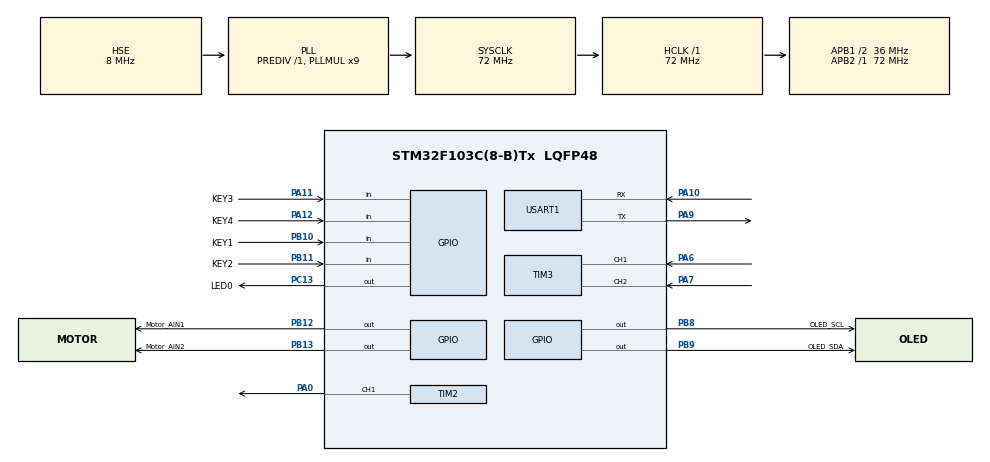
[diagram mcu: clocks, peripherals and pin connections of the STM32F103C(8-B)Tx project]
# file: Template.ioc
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Dma.Request0=USART1_RX
Dma.Request1=USART1_TX
Dma.USART1_RX.0.Direction=DMA_PERIPH_TO_MEMORY
Dma.USART1_RX.0.Instance=DMA1_Channel5
Dma.USART1_RX.0.MemDataAlignment=DMA_MDATAALIGN_BYTE
Dma.USART1_RX.0.MemInc=DMA_MINC_ENABLE
Dma.USART1_RX.0.Mode=DMA_NORMAL
Dma.USART1_RX.0.PeriphDataAlignment=DMA_PDATAALIGN_BYTE
Dma.USART1_RX.0.PeriphInc=DMA_PINC_DISABLE
Dma.USART1_RX.0.Priority=DMA_PRIORITY_LOW
Dma.USART1_TX.1.Direction=DMA_MEMORY_TO_PERIPH
Dma.USART1_TX.1.Instance=DMA1_Channel4
Dma.USART1_TX.1.MemDataAlignment=DMA_MDATAALIGN_BYTE
Dma.USART1_TX.1.MemInc=DMA_MINC_ENABLE
Dma.USART1_TX.1.Mode=DMA_NORMAL
Dma.USART1_TX.1.PeriphDataAlignment=DMA_PDATAALIGN_BYTE
Dma.USART1_TX.1.PeriphInc=DMA_PINC_DISABLE
Dma.USART1_TX.1.Priority=DMA_PRIORITY_LOW
Mcu.Family=STM32F1
Mcu.Name=STM32F103C(8-B)Tx
Mcu.Package=LQFP48
NVIC.DMA1_Channel4_IRQn=true\:0\:0\:false\:false\:true\:false\:true\:true
NVIC.DMA1_Channel5_IRQn=true\:0\:0\:false\:false\:true\:false\:true\:true
NVIC.PriorityGroup=NVIC_PRIORITYGROUP_2
NVIC.USART1_IRQn=true\:0\:0\:false\:false\:true\:true\:true\:true
PA0-WKUP.Signal=S_TIM2_CH1_ETR
PA10.Mode=Asynchronous
PA10.Signal=USART1_RX
PA11.GPIO_Label=KEY3
PA11.GPIO_PuPd=GPIO_PULLUP
PA11.Signal=GPIO_Input
PA12.GPIO_Label=KEY4
PA12.GPIO_PuPd=GPIO_PULLUP
PA12.Signal=GPIO_Input
PA13.Mode=Serial_Wire
PA13.Signal=SYS_JTMS-SWDIO
PA14.Mode=Serial_Wire
PA14.Signal=SYS_JTCK-SWCLK
PA6.Signal=S_TIM3_CH1
PA7.Signal=S_TIM3_CH2
PA9.Mode=Asynchronous
PA9.Signal=USART1_TX
PB10.GPIO_Label=KEY1
PB10.GPIO_PuPd=GPIO_PULLUP
PB10.Signal=GPIO_Input
PB11.GPIO_Label=KEY2
PB11.GPIO_PuPd=GPIO_PULLUP
PB11.Signal=GPIO_Input
PB12.GPIO_Label=Motor_AIN1
PB12.Signal=GPIO_Output
PB13.GPIO_Label=Motor_AIN2
PB13.Signal=GPIO_Output
PB8.GPIO_Label=OLED_SCL
PB8.GPIO_Speed=GPIO_SPEED_FREQ_HIGH
PB8.Signal=GPIO_Output
PB9.GPIO_Label=OLED_SDA
PB9.GPIO_Speed=GPIO_SPEED_FREQ_HIGH
PB9.PinState=GPIO_PIN_RESET
PB9.Signal=GPIO_Output
PC13-TAMPER-RTC.GPIO_Label=LED0
PC13-TAMPER-RTC.Signal=GPIO_Output
PC14-OSC32_IN.Mode=LSE-External-Oscillator
PC14-OSC32_IN.Signal=RCC_OSC32_IN
PC15-OSC32_OUT.Mode=LSE-External-Oscillator
PC15-OSC32_OUT.Signal=RCC_OSC32_OUT
PD0-OSC_IN.Mode=HSE-External-Oscillator
PD0-OSC_IN.Signal=RCC_OSC_IN
PD1-OSC_OUT.Mode=HSE-External-Oscillator
PD1-OSC_OUT.Signal=RCC_OSC_OUT
ProjectManager.HeapSize=0x200
ProjectManager.StackSize=0x400
ProjectManager.TargetToolchain=MDK-ARM V5.32
RCC.AHBFreq_Value=72000000
RCC.APB1CLKDivider=RCC_HCLK_DIV2
RCC.APB1Freq_Value=36000000
RCC.APB1TimFreq_Value=72000000
RCC.APB2Freq_Value=72000000
RCC.APB2TimFreq_Value=72000000
RCC.HCLKFreq_Value=72000000
RCC.PLLMUL=RCC_PLL_MUL9
RCC.PLLSourceVirtual=RCC_PLLSOURCE_HSE
RCC.SYSCLKFreq_VALUE=72000000
RCC.SYSCLKSource=RCC_SYSCLKSOURCE_PLLCLK
RCC.USBFreq_Value=72000000
SH.S_TIM2_CH1_ETR.0=TIM2_CH1,PWM Generation1 CH1
SH.S_TIM3_CH1.0=TIM3_CH1,Encoder_Interface
SH.S_TIM3_CH2.0=TIM3_CH2,Encoder_Interface
TIM2.AutoReloadPreload=TIM_AUTORELOAD_PRELOAD_ENABLE
TIM2.Channel-PWM\ Generation1\ CH1=TIM_CHANNEL_1
TIM2.Period=100-1
TIM2.Prescaler=36-1
TIM3.EncoderMode=TIM_ENCODERMODE_TI12
TIM3.IC1Filter=0xF
TIM3.IC2Filter=0xF
TIM3.IC2Polarity=TIM_ICPOLARITY_FALLING
USART1.VirtualMode=VM_ASYNC
board=custom

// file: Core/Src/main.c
/* USER CODE BEGIN Header */
/**
  ******************************************************************************
  * @file           : main.c
  * @brief          : Main program body
  ******************************************************************************
  * @attention
  *
  * Copyright (c) 2025 STMicroelectronics.
  * All rights reserved.
  *
  * This software is licensed under terms that can be found in the LICENSE file
  * in the root directory of this software component.
  * If no LICENSE file comes with this software, it is provided AS-IS.
  *
  ******************************************************************************
  */
/* USER CODE END Header */
#include "main.h"
#include "dma.h"
#include "tim.h"
#include "usart.h"
#include "gpio.h"

void SystemClock_Config(void);

/* USER CODE BEGIN 0 */
// *******************库/函数导入*******************
// 系统库
#include <stdlib.h>
#include "string.h"
#include <stdio.h>
// 自设库
#include "OLED.h"
#include "Key.h"

// 江协PID额外需要的库
#include "Motor.h"
#include "Encoder.h"
#include "Serial.h"
#include "PID.h"
// *******************全局变量*******************
// 串口数据包
extern Serial_HEX_Data_Typedef   Serial_Hex_Data ;			// 解析好的HEX数据包
extern Serial_ABC_Data_Typedef   Serial_ABC_Data ;			// 解析好的ABC数据包

// PID相关代码
// 我的理解:setSpeed是设定的PWM值,这在PID调控中是幕后控制者,受到输出限幅,不会超过TIM的ARR值
// 而realSpeed是单位时间的脉冲数(在该份代码),所以并不是PWM,但是与PWM有很复杂的关系,所以只能通过PID调控
// goalSpeed是接口,使用者可以调节,其代表期待的单位时间的脉冲数

Pid_Typedef PID_p ;
int goalSpeed = 50 ;				// 目标速度
int setSpeed  ;		// 设定速度
int realSpeed ;				// 实际速度
float Kp = 0.30 ;		// 先设置Kp,等到波形在tar出现突变时没有出现set波形振动的临界值开始调节Ki
float Ki = 0.20 ;		// 结合Kp,使得set与tar越接近越好
float Kd = 0.00 ;			// 如果出现不正常超调曲线(趋势不正确):过冲,才开始调节Kd

// *******************实验区域*******************
int check1 ;
int check2 = 160 ;
int check[50] ;
extern float C ;

/* USER CODE END 0 */

int main(void)
{

  /* MCU Configuration--------------------------------------------------------*/

  /* Reset of all peripherals, Initializes the Flash interface and the Systick. */
  HAL_Init();

  /* Configure the system clock */
  SystemClock_Config();

  /* Initialize all configured peripherals */
  MX_GPIO_Init();
  MX_DMA_Init();
  MX_TIM2_Init();
  MX_TIM3_Init();
  MX_USART1_UART_Init();
  /* USER CODE BEGIN 2 */

	// ******************* setup *******************
	// 启动Systick时钟
	HAL_SYSTICK_Config(SystemCoreClock / 1000);
	// 初始化OLED
	OLED_Init() ;
	// 电机初始化
	Motor_Init() ;
	// 编码器初始化
	Encoder_Init() ;
	// 串口初始化
	Serial_Init(&Serial_huart) ;
	// PID_s初始化
	PID_Init(&PID_p , Kp , Ki , Kd , goalSpeed) ;
	// ******************* 实验区域 *******************

  /* USER CODE END 2 */

  /* Infinite loop */
  while (1)
  {

    /* USER CODE BEGIN 3 */
		// ******************* while *******************
		OLED_Clear() ;
		// 测试按键功能
		if (Key_Check(KEY_1 , KEY_SINGLE))
		{
			check1++ ;
		}
		else if (Key_Check(KEY_2 , KEY_SINGLE))
		{
			goalSpeed = 160 ;
		}
		else if (Key_Check(KEY_3 , KEY_SINGLE))
		{
			goalSpeed = 0 ;
		}
		// 串口功能
		if (Serial_GetNewPackageFlag_ABC() == 1)
		{
			// 文本包调试程序
//			Serial_SetIntData("PWM" , "PWM=%d" , &setSpeed) ;
//			Serial_SetIntData("checkb" , "checkb=%d" , &check2) ;
			Serial_SetFloatData("Kp" , "Kp=%f" , &Kp) ;
			Serial_SetFloatData("Ki" , "Ki=%f" , &Ki) ;
			Serial_SetFloatData("Kd" , "Kd=%f" , &Kd) ;
			Serial_SetIntData("goalSpeed" , "goalSpeed=%d" , &goalSpeed) ;
			Serial_SetIntData("checkb" , "checkb=%d" , &check2) ;
		}

		// ******************* 实验区域 *******************
		OLED_Printf(0 ,0  , OLED_8X16 , "P:%.2f" , Kp) ;
		OLED_Printf(0 ,20 , OLED_8X16 , "I:%.2f" , Ki) ;
		OLED_Printf(0 ,40 , OLED_8X16 , "D:%.2f" , Kd) ;

		OLED_Printf(50 ,0  , OLED_8X16 , "Tar:%+03d" , goalSpeed) ;
		OLED_Printf(50 ,20 , OLED_8X16 , "Act:%+03d" , realSpeed) ;
		OLED_Printf(50 ,40 , OLED_8X16 , "Out:%+03d" , setSpeed ) ;

		PID_Set(&PID_p , Kp , Ki , Kd , goalSpeed) ;

		// 调节PWM
		if (check1 % 2 == 0)
		{
			Motor_SetPWM(setSpeed) ;
		}
		else
		{
		  Motor_SetPWM(goalSpeed) ;
		}

		// 发送数据
		Set_Current_USART(USART1_IDX) ;
		printf("%d,%d,%d,%d,%d,%d,%f\n",setSpeed,goalSpeed,realSpeed,check[0]*10,check[1]*10,check[2]*10,C*100) ;

		// 必须存在:OLED更新
		OLED_Update() ;
  }
  /* USER CODE END 3 */
}

void SystemClock_Config(void)
{
  RCC_OscInitTypeDef RCC_OscInitStruct = {0};
  RCC_ClkInitTypeDef RCC_ClkInitStruct = {0};

  /** Initializes the RCC Oscillators according to the specified parameters
  * in the RCC_OscInitTypeDef structure.
  */
  RCC_OscInitStruct.OscillatorType = RCC_OSCILLATORTYPE_HSE;
  RCC_OscInitStruct.HSEState = RCC_HSE_ON;
  RCC_OscInitStruct.HSEPredivValue = RCC_HSE_PREDIV_DIV1;
  RCC_OscInitStruct.HSIState = RCC_HSI_ON;
  RCC_OscInitStruct.PLL.PLLState = RCC_PLL_ON;
  RCC_OscInitStruct.PLL.PLLSource = RCC_PLLSOURCE_HSE;
  RCC_OscInitStruct.PLL.PLLMUL = RCC_PLL_MUL9;
  if (HAL_RCC_OscConfig(&RCC_OscInitStruct) != HAL_OK)
  {
    Error_Handler();
  }

  /** Initializes the CPU, AHB and APB buses clocks
  */
  RCC_ClkInitStruct.ClockType = RCC_CLOCKTYPE_HCLK|RCC_CLOCKTYPE_SYSCLK
                              |RCC_CLOCKTYPE_PCLK1|RCC_CLOCKTYPE_PCLK2;
  RCC_ClkInitStruct.SYSCLKSource = RCC_SYSCLKSOURCE_PLLCLK;
  RCC_ClkInitStruct.AHBCLKDivider = RCC_SYSCLK_DIV1;
  RCC_ClkInitStruct.APB1CLKDivider = RCC_HCLK_DIV2;
  RCC_ClkInitStruct.APB2CLKDivider = RCC_HCLK_DIV1;

  if (HAL_RCC_ClockConfig(&RCC_ClkInitStruct, FLASH_LATENCY_2) != HAL_OK)
  {
    Error_Handler();
  }
}

/* USER CODE BEGIN 4 */
// Systick定时中断
void HAL_SYSTICK_Callback(void)
{
	// 计时
	static int count_sys = 0 ;
	count_sys ++ ;
	// 功能1:
	if (count_sys % 1000 == 0)
	{
//		HAL_GPIO_TogglePin(LED0_GPIO_Port , LED0_Pin ) ;
	}
	// 功能2: 按键
	Key_Tick() ;
	// 功能3: 测速
	if (count_sys % 40 == 0)
	{
		realSpeed  = Encoder_Get() ;
		setSpeed   = PID_Cal(&PID_p , realSpeed , -100 , 100) ;
	}
}

/* USER CODE END 4 */

void Error_Handler(void)
{
  __disable_irq();
  while (1)
  {
  }
}
